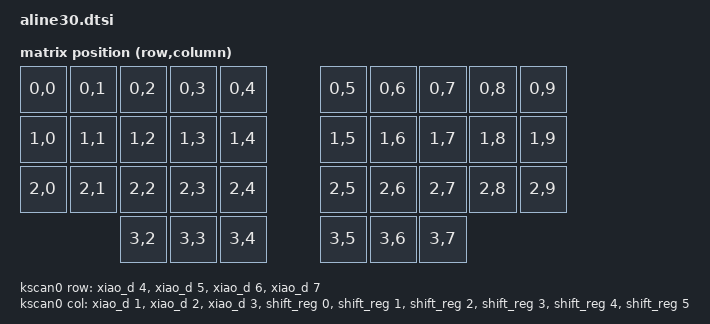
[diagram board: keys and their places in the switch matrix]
#include <dt-bindings/zmk/matrix_transform.h>

/ {
    chosen {
        zmk,matrix_transform = &default_transform;
    };

    default_transform: key_transform0 {
        compatible = "zmk,matrix-transform";
        columns = <10>;
        rows = <4>;

        map = <
            RC(0,0) RC(0,1) RC(0,2) RC(0,3) RC(0,4) RC(0,5) RC(0,6) RC(0,7) RC(0,8) RC(0,9)
            RC(1,0) RC(1,1) RC(1,2) RC(1,3) RC(1,4) RC(1,5) RC(1,6) RC(1,7) RC(1,8) RC(1,9)
            RC(2,0) RC(2,1) RC(2,2) RC(2,3) RC(2,4) RC(2,5) RC(2,6) RC(2,7) RC(2,8) RC(2,9)
                            RC(3,2) RC(3,3) RC(3,4) RC(3,5) RC(3,6) RC(3,7)
        >;
    };
    
    physical_layout0: physical_layout_0 { // First physical layout, use different naming for other layouts
	  compatible = "zmk,physical-layout";
	  display-name = "Default Layout";
	  kscan = <&kscan0>; // Label of the kscan node, optional if all layouts use the same
	  transform = <&default_transform>; // Label of the matrix transform for this layout
	};

   kscan0: kscan {
    compatible = "zmk,kscan-gpio-matrix";
    diode-direction = "col2row"; 

    row-gpios
        = <&xiao_d 4 (GPIO_ACTIVE_HIGH | GPIO_PULL_DOWN)>
        , <&xiao_d 5 (GPIO_ACTIVE_HIGH | GPIO_PULL_DOWN)>
        , <&xiao_d 6 (GPIO_ACTIVE_HIGH | GPIO_PULL_DOWN)>
        , <&xiao_d 7 (GPIO_ACTIVE_HIGH | GPIO_PULL_DOWN)>
        ;

    col-gpios
        = <&xiao_d 1 GPIO_ACTIVE_HIGH> // Col1
        , <&xiao_d 2 GPIO_ACTIVE_HIGH> // Col2
        , <&xiao_d 3 GPIO_ACTIVE_HIGH> // Col3
        , <&shift_reg 0 GPIO_ACTIVE_HIGH> // Col4 (QA)
        , <&shift_reg 1 GPIO_ACTIVE_HIGH> // Col5 (QB)
        , <&shift_reg 2 GPIO_ACTIVE_HIGH> // Col6 (QC)
        , <&shift_reg 3 GPIO_ACTIVE_HIGH> // Col7 (QD)
        , <&shift_reg 4 GPIO_ACTIVE_HIGH> // Col8 (QE)
        , <&shift_reg 5 GPIO_ACTIVE_HIGH> // Col9 (QF)
            ;
    };
};   
&xiao_i2c { status = "disabled"; };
